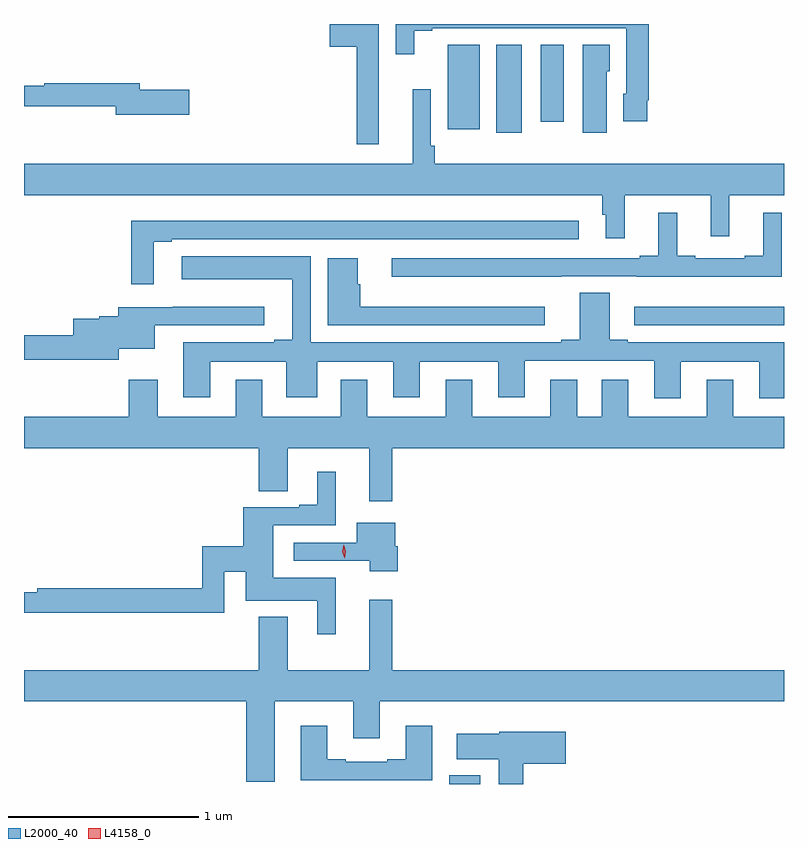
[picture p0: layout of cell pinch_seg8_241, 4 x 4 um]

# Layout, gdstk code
import gdstk
lib = gdstk.Library(unit=1e-6, precision=1e-09)
def R(c, l, rs):  # rectangles x0, y0, x1, y1
    for r in rs: c.add(gdstk.rectangle(r[:2], r[2:], *l))
def P(c, l, *ps):  # polygons
    for p in ps: c.add(gdstk.Polygon(p, *l))
L2000_40 = (2000, 40)
L4158_0 = (4158, 0)

pinch_seg8_241 = lib.new_cell('pinch_seg8_241')
R(pinch_seg8_241, L2000_40, [(805.571,1116.064,805.735,1116.109), (806.547,1118.478,807.334,1118.575), (805.82,1119.492,805.954,1119.956), (805.565,1119.51,805.732,1119.956), (806.054,1119.549,806.176,1119.956)])
P(pinch_seg8_241, L2000_40, [(806.614,1119.664),(806.621,1119.664),(806.621,1120.064),(805.29,1120.064),(805.29,1119.906),(805.387,1119.906),(805.387,1120.029),(805.483,1120.029),(805.483,1120.041),(806.505,1120.041),(806.505,1119.696),(806.489,1119.696),(806.489,1119.552),(806.614,1119.552)],
  [(805.202,1119.848),(805.2,1119.848),(805.2,1120.064),(804.944,1120.064),(804.944,1119.944),(805.084,1119.944),(805.084,1119.432),(805.202,1119.432)],
  [(806.401,1119.816),(806.416,1119.816),(806.416,1119.956),(806.276,1119.956),(806.276,1119.492),(806.401,1119.492)],
  [(804.205,1119.717),(803.944,1119.717),(803.944,1119.751),(803.44,1119.751),(803.44,1119.74),(803.334,1119.74),(803.334,1119.63),(803.816,1119.63),(803.816,1119.587),(804.205,1119.587)],
  [(805.476,1119.424),(805.476,1119.721),(805.379,1119.721),(805.379,1119.328),(803.334,1119.328),(803.334,1119.164),(806.377,1119.164),(806.377,1119.059),(806.396,1119.059),(806.396,1118.937),(806.495,1118.937),(806.495,1119.164),(806.948,1119.164),(806.948,1118.946),(807.047,1118.946),(807.047,1119.164),(807.334,1119.164),(807.334,1119.328),(805.496,1119.328),(805.496,1119.424)],
  [(806.162,1118.736),(806.559,1118.736),(806.559,1118.735),(807.323,1118.735),(807.323,1119.07),(807.224,1119.07),(807.224,1118.845),(807.128,1118.845),(807.128,1118.832),(806.866,1118.832),(806.866,1118.845),(806.771,1118.845),(806.771,1119.07),(806.672,1119.07),(806.672,1118.845),(806.576,1118.845),(806.576,1118.832),(805.269,1118.832),(805.269,1118.735),(806.162,1118.735)],
  [(804.016,1118.919),(804.112,1118.919),(804.112,1118.931),(806.254,1118.931),(806.254,1119.028),(803.899,1119.028),(803.899,1118.694),(804.016,1118.694)],
  [(806.791,1118.287),(807.203,1118.287),(807.203,1118.094),(807.334,1118.094),(807.334,1118.388),(806.512,1118.388),(806.512,1118.401),(806.416,1118.401),(806.416,1118.65),(806.258,1118.65),(806.258,1118.401),(806.162,1118.401),(806.162,1118.388),(804.843,1118.388),(804.843,1118.842),(804.165,1118.842),(804.165,1118.72),(804.746,1118.72),(804.746,1118.401),(804.65,1118.401),(804.65,1118.388),(804.173,1118.388),(804.173,1118.1),(804.313,1118.1),(804.313,1118.287),(804.713,1118.287),(804.713,1118.1),(804.877,1118.1),(804.877,1118.287),(805.277,1118.287),(805.277,1118.1),(805.417,1118.1),(805.417,1118.287),(805.829,1118.287),(805.829,1118.1),(805.969,1118.1),(805.969,1118.292),(806.651,1118.292),(806.651,1118.094),(806.791,1118.094)],
  [(806.074,1118.575),(805.103,1118.575),(805.103,1118.694),(805.09,1118.694),(805.09,1118.83),(804.932,1118.83),(804.932,1118.478),(806.074,1118.478)],
  [(803.833,1118.354),(804.022,1118.354),(804.022,1118.478),(804.598,1118.478),(804.598,1118.575),(804.118,1118.575),(804.118,1118.574),(803.831,1118.574),(803.831,1118.525),(803.729,1118.525),(803.729,1118.512),(803.594,1118.512),(803.594,1118.426),(803.334,1118.426),(803.334,1118.298),(803.833,1118.298)],
  [(804.569,1117.606),(804.721,1117.606),(804.721,1117.832),(805.151,1117.832),(805.151,1117.551),(805.273,1117.551),(805.273,1117.832),(807.334,1117.832),(807.334,1117.996),(807.067,1117.996),(807.067,1118.191),(806.927,1118.191),(806.927,1117.996),(806.515,1117.996),(806.515,1118.191),(806.375,1118.191),(806.375,1117.996),(806.245,1117.996),(806.245,1118.191),(806.105,1118.191),(806.105,1117.996),(805.693,1117.996),(805.693,1118.191),(805.553,1118.191),(805.553,1117.996),(805.141,1117.996),(805.141,1118.191),(805.001,1118.191),(805.001,1117.996),(804.589,1117.996),(804.589,1118.191),(804.449,1118.191),(804.449,1117.996),(804.037,1117.996),(804.037,1118.191),(803.885,1118.191),(803.885,1117.996),(803.334,1117.996),(803.334,1117.832),(804.569,1117.832)],
  [(804.976,1117.15),(804.646,1117.15),(804.646,1117.425),(804.976,1117.425),(804.976,1117.708),(804.878,1117.708),(804.878,1117.534),(804.782,1117.534),(804.782,1117.521),(804.488,1117.521),(804.488,1117.316),(804.271,1117.316),(804.271,1117.094),(803.404,1117.094),(803.404,1117.074),(803.334,1117.074),(803.334,1116.966),(804.387,1116.966),(804.387,1117.18),(804.5,1117.18),(804.5,1117.028),(804.878,1117.028),(804.878,1116.852),(804.976,1116.852)],
  [(805.301,1117.316),(805.288,1117.316),(805.288,1117.438),(805.085,1117.438),(805.085,1117.335),(804.753,1117.335),(804.753,1117.239),(805.154,1117.239),(805.154,1117.185),(805.301,1117.185)],
  [(804.655,1116.5),(805.067,1116.5),(805.067,1116.306),(805.207,1116.306),(805.207,1116.5),(807.334,1116.5),(807.334,1116.664),(805.273,1116.664),(805.273,1117.033),(805.151,1117.033),(805.151,1116.664),(804.721,1116.664),(804.721,1116.943),(804.569,1116.943),(804.569,1116.664),(803.334,1116.664),(803.334,1116.5),(804.503,1116.5),(804.503,1116.075),(804.655,1116.075)],
  [(805.027,1116.084),(805.483,1116.084),(805.483,1116.37),(805.343,1116.37),(805.343,1116.193),(805.247,1116.193),(805.247,1116.18),(805.027,1116.18),(805.027,1116.193),(804.931,1116.193),(804.931,1116.37),(804.791,1116.37),(804.791,1116.083),(805.027,1116.083)],
  [(805.962,1116.17),(806.185,1116.17),(806.185,1116.34),(805.836,1116.34),(805.836,1116.328),(805.611,1116.328),(805.611,1116.194),(805.832,1116.194),(805.832,1116.064),(805.962,1116.064)])
P(pinch_seg8_241, L4158_0, [(805.021,1117.252),(805.021,1117.252),(805.008,1117.287),(805.016,1117.324),(805.016,1117.324),(805.016,1117.324),(805.028,1117.289),(805.021,1117.252)])

lib.write_gds('pinch_seg8_241.gds')
